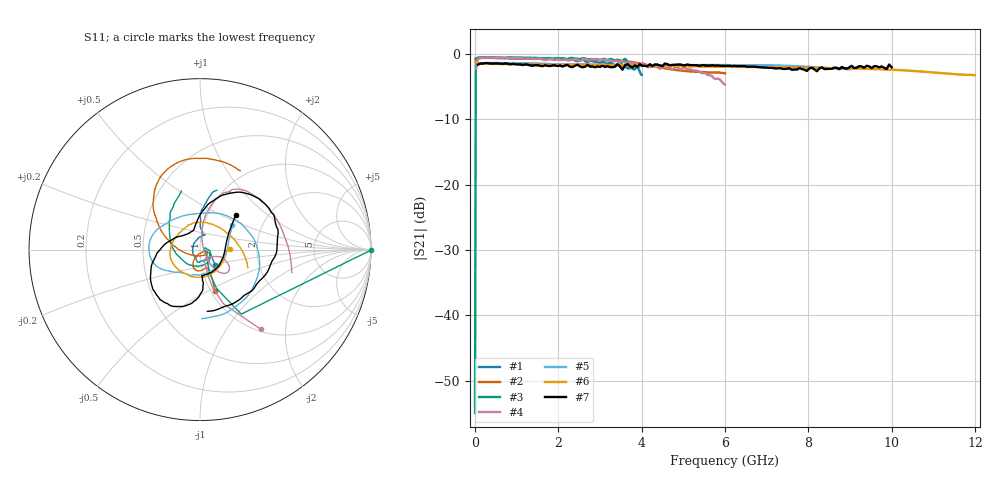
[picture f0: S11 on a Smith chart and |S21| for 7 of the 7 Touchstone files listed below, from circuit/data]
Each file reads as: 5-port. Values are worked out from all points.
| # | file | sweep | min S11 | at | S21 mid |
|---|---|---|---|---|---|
| 1 | HMC182S14_rf1_selected_deembedded.s5p | 30 MHz to 4 GHz | -27.5 dB | 1.896 GHz | -0.8 dB at 2.015 GHz |
| 2 | Hmc241lp3_portRF1_selected_de_emb.s5p | 10 MHz to 6 GHz | -34.0 dB | 1.927 GHz | -0.9 dB at 3.005 GHz |
| 3 | HMC241QS16_RFC-RF1_selected_deembedded.s5p | 10 kHz to 3.8 GHz | -33.6 dB | 840.2 MHz | -0.7 dB at 1.91 GHz |
| 4 | HMC244G16_rf1_selected_deembedded.s5p | 30 MHz to 6 GHz | -33.2 dB | 3.164 GHz | -1.0 dB at 3.015 GHz |
| 5 | HMC344_rf1_selected_deembedded.s5p | 99.9 MHz to 9 GHz | -17.0 dB | 998.9 MHz | -1.8 dB at 4.595 GHz |
| 6 | HMC344LH5_deembedded_rf1_selected.s5p | 10 MHz to 12 GHz | -16.7 dB | 69.95 MHz | -2.0 dB at 6.005 GHz |
| 7 | HMC344LP3_rf1_selected_deembedded.s5p | 69.82 MHz to 10 GHz | -18.8 dB | 5.573 GHz | -1.8 dB at 5.035 GHz |
